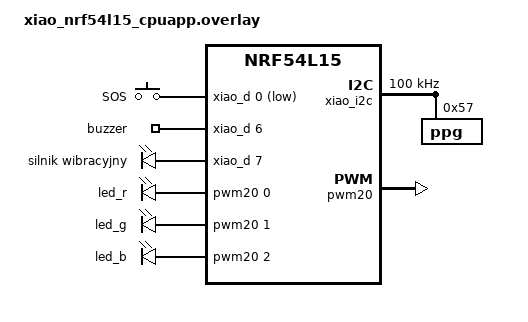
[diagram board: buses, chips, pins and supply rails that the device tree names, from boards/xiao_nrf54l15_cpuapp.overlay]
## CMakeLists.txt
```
cmake_minimum_required(VERSION 3.20.0)
find_package(Zephyr REQUIRED HINTS $ENV{ZEPHYR_BASE})
project(epi)

target_sources(app PRIVATE
  src/main.c
  src/ble_epi.c
  ../lib/epi_led.c
  ../lib/epi_battery.c
  ../lib/epi_button.c
  ../lib/epi_detector.c
)
target_include_directories(app PRIVATE ../lib)
```

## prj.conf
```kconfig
# Konfiguracja aplikacji EPI dla XIAO nRF54L15 (Sense).
# Budowane w nRF Connect SDK: west build -b xiao_nrf54l15/nrf54l15/cpuapp

CONFIG_MAIN_STACK_SIZE=2048
CONFIG_HEAP_MEM_POOL_SIZE=2048

# Sprzęt
CONFIG_GPIO=y
CONFIG_PWM=y
CONFIG_I2C=y
CONFIG_ADC=y
CONFIG_SENSOR=y
CONFIG_LSM6DSO=n
CONFIG_LSM6DSL=n
# IMU na płytce Sense: LSM6DS3TR-C. Sterownik wybierany przez devicetree,
# nazwa opcji do sprawdzenia w wersji SDK (CONFIG_LSM6DSO / CONFIG_LSM6DS3TR_C).

# Zasilanie
CONFIG_PM=y
CONFIG_PM_DEVICE=y
CONFIG_POWEROFF=y

# Bluetooth: peryferium z profilami, których szuka aplikacja
CONFIG_BT=y
CONFIG_BT_PERIPHERAL=y
CONFIG_BT_DEVICE_NAME="EPI"
CONFIG_BT_DEVICE_APPEARANCE=833
CONFIG_BT_MAX_CONN=1
CONFIG_BT_GATT_DYNAMIC_DB=n
CONFIG_BT_HRS=y
CONFIG_BT_BAS=y
CONFIG_BT_SMP=y
CONFIG_BT_BONDABLE=y
CONFIG_BT_SETTINGS=y
CONFIG_SETTINGS=y
CONFIG_NVS=y
CONFIG_FLASH=y
CONFIG_FLASH_MAP=y

# Logi tylko w kompilacji rozwojowej
CONFIG_LOG=y
CONFIG_LOG_DEFAULT_LEVEL=3
```

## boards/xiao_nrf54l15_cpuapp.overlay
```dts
/*
 * Przypisanie wyprowadzeń. Numery pinów w blokach pinctrl trzeba wpisać
 * z pinoutu płytki (plik boards/seeed/xiao_nrf54l15/*.dts w Zephyrze) —
 * zostawione tu wartości są miejscem na wpis, nie gotową konfiguracją.
 *
 * Rozkład zgodny z tabelą w hardware/README.md:
 *   D0  przycisk           D1..D3 kanały diody RGB
 *   D4  SDA, D5 SCL        D6  buzzer, D7 silnik wibracyjny
 *   D8  INT z pulsoksymetru   D9  STAT ładowarki   D10 wykrycie ładowarki
 */

/ {
    aliases {
        epi-button = &btn_sos;
        epi-buzzer = &out_buzzer;
        epi-motor  = &out_motor;
        /* Nazwa węzła IMU pochodzi z pliku płytki dla wersji Sense. */
        epi-imu    = &lsm6ds3tr_c;
    };

    buttons {
        compatible = "gpio-keys";
        btn_sos: btn_sos {
            gpios = <&xiao_d 0 (GPIO_ACTIVE_LOW | GPIO_PULL_UP)>;
            label = "SOS";
            zephyr,code = <0>;
        };
    };

    outputs {
        compatible = "gpio-leds";
        out_buzzer: out_buzzer {
            gpios = <&xiao_d 6 GPIO_ACTIVE_HIGH>;
            label = "buzzer";
        };
        out_motor: out_motor {
            gpios = <&xiao_d 7 GPIO_ACTIVE_HIGH>;
            label = "silnik wibracyjny";
        };
    };

    epi_led: epi-led {
        compatible = "pwm-leds";
        led_r: led_r { pwms = <&pwm20 0 PWM_USEC(500) PWM_POLARITY_NORMAL>; };
        led_g: led_g { pwms = <&pwm20 1 PWM_USEC(500) PWM_POLARITY_NORMAL>; };
        led_b: led_b { pwms = <&pwm20 2 PWM_USEC(500) PWM_POLARITY_NORMAL>; };
    };
};

&xiao_i2c {
    status = "okay";
    clock-frequency = <I2C_BITRATE_STANDARD>;

    /* Fermion MAX30102 (SEN0344), adres 0x57. Sterownik zależy od tego, czy
     * moduł oddaje surowe próbki, czy tylko wynik algorytmu — patrz README. */
    ppg: ppg@57 {
        reg = <0x57>;
        status = "okay";
    };

    /* Wersja Sense ma akcelerometr na płytce, więc zewnętrzny nie jest
     * potrzebny. Gdyby oba warianty sprzętu miały używać tego samego czujnika
     * co wersja na Arduino Nano, wystarczy odkomentować ten węzeł, przestawić
     * alias epi-imu na &mpu6050 i włączyć CONFIG_MPU6050 w prj.conf.
     *
     * mpu6050: mpu6050@68 {
     *     compatible = "invensense,mpu6050";
     *     reg = <0x68>;
     *     status = "okay";
     * };
     */
};

&pwm20 {
    status = "okay";
    pinctrl-0 = <&pwm20_default>;
    pinctrl-1 = <&pwm20_sleep>;
    pinctrl-names = "default", "sleep";
};
```

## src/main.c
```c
/*
 * EPI — firmware pre-prototypu na Seeed XIAO nRF54L15 (Sense).
 *
 * Warstwa sprzętowa. Cała logika rozstrzygająca (automat detekcji, dioda,
 * bateria, przycisk) siedzi w ../lib i jest testowana na komputerze —
 * tutaj zostaje odczyt czujników, PWM, wyjścia alarmu i BLE.
 *
 * Stan pliku: szkielet integracji. Kompilacja wymaga nRF Connect SDK i
 * uzupełnienia pinctrl w boards/xiao_nrf54l15_cpuapp.overlay.
 */

#include <math.h>

#include <zephyr/kernel.h>
#include <zephyr/device.h>
#include <zephyr/drivers/adc.h>
#include <zephyr/drivers/gpio.h>
#include <zephyr/drivers/pwm.h>
#include <zephyr/drivers/sensor.h>
#include <zephyr/logging/log.h>
#include <zephyr/sys/poweroff.h>
#include <zephyr/sys/reboot.h>

#include "ble_epi.h"
#include "epi_battery.h"
#include "epi_button.h"
#include "epi_detector.h"
#include "epi_led.h"

LOG_MODULE_REGISTER(epi, CONFIG_LOG_DEFAULT_LEVEL);

/* Okresy pracy. Detektor chodzi w tym samym rytmie co w aplikacji. */
#define TICK_LED_MS       10
#define TICK_DETECTOR_MS  250
#define TICK_BATTERY_MS   30000
#define IMU_HZ            52
#define SOS_WINDOW_MS     10000  /* czas na anulowanie SOS drugim kliknięciem */

static const struct pwm_dt_spec led_r = PWM_DT_SPEC_GET(DT_NODELABEL(led_r));
static const struct pwm_dt_spec led_g = PWM_DT_SPEC_GET(DT_NODELABEL(led_g));
static const struct pwm_dt_spec led_b = PWM_DT_SPEC_GET(DT_NODELABEL(led_b));

static const struct gpio_dt_spec button =
    GPIO_DT_SPEC_GET(DT_ALIAS(epi_button), gpios);
static const struct gpio_dt_spec buzzer =
    GPIO_DT_SPEC_GET(DT_ALIAS(epi_buzzer), gpios);
static const struct gpio_dt_spec motor =
    GPIO_DT_SPEC_GET(DT_ALIAS(epi_motor), gpios);

/* Alias wskazuje węzeł IMU z pliku płytki; nazwa sterownika dla
 * LSM6DS3TR-C zależy od wersji SDK, więc nie jest tu wpisana na sztywno. */
static const struct device *imu = DEVICE_DT_GET(DT_ALIAS(epi_imu));

static struct {
    epi_detector det;
    epi_button   btn;
    epi_batt     batt;
    epi_led_input led;
    uint32_t boot_ms;
    uint32_t sos_deadline_ms;
    bool     alarm_output;
} app;

static uint32_t now_ms(void)
{
    return (uint32_t)k_uptime_get_32();
}

/* --- dioda ------------------------------------------------------------- */

static void led_write(epi_rgb c)
{
    /* Wspólna anoda: wypełnienie 0 to pełna jasność, dlatego wartość jest
     * odwracana. Przy wspólnej katodzie wystarczy usunąć odejmowanie. */
    (void)pwm_set_pulse_dt(&led_r, (led_r.period * (255u - c.r)) / 255u);
    (void)pwm_set_pulse_dt(&led_g, (led_g.period * (255u - c.g)) / 255u);
    (void)pwm_set_pulse_dt(&led_b, (led_b.period * (255u - c.b)) / 255u);
}

static void led_work_fn(struct k_work *work);
static K_WORK_DELAYABLE_DEFINE(led_work, led_work_fn);

static void led_work_fn(struct k_work *work)
{
    uint32_t t = now_ms();

    ARG_UNUSED(work);
    app.led.uptime_ms = t - app.boot_ms;
    app.led.detector = app.det.state;
    led_write(epi_led_render(&app.led, t));
    k_work_reschedule(&led_work,
                      K_MSEC(epi_led_tick_ms(epi_led_mode_for(&app.led))));
}

/* --- alarm lokalny ----------------------------------------------------- */

/* Buzzer i silnik pracują impulsami: ciągła praca to około 120 mA, czyli
 * kilkanaście procent pojemności ogniwa na godzinę. */
static void alarm_output_set(bool on)
{
    if (app.alarm_output == on) {
        return;
    }
    app.alarm_output = on;
    (void)gpio_pin_set_dt(&buzzer, on ? 1 : 0);
    (void)gpio_pin_set_dt(&motor, on ? 1 : 0);
}

static void alarm_work_fn(struct k_work *work);
static K_WORK_DELAYABLE_DEFINE(alarm_work, alarm_work_fn);

static void alarm_work_fn(struct k_work *work)
{
    bool active = (app.det.state == EPI_DET_ALARM) || app.led.sos_active;

    ARG_UNUSED(work);
    if (!active) {
        alarm_output_set(false);
        return;
    }
    alarm_output_set(!app.alarm_output);
    k_work_reschedule(&alarm_work, K_MSEC(app.alarm_output ? 400 : 600));
}

/* Krótkie potwierdzenie gestu: sam silnik, bez dźwięku. */
static void haptic_blip(uint16_t ms)
{
    (void)gpio_pin_set_dt(&motor, 1);
    k_sleep(K_MSEC(ms));
    (void)gpio_pin_set_dt(&motor, 0);
}

/* --- przycisk ---------------------------------------------------------- */

static void power_off_device(void)
{
    alarm_output_set(false);
    led_write((epi_rgb){0, 0, 0});
    app.led.powered_on = false;
    app.det.state = EPI_DET_OFF;
    haptic_blip(300);

    /* Wybudzenie przyciskiem z trybu System OFF. */
    (void)gpio_pin_interrupt_configure_dt(&button, GPIO_INT_LEVEL_ACTIVE);
    sys_poweroff();
}

static void on_button_event(epi_btn_event evt, uint32_t t)
{
    switch (evt) {
    case EPI_BTN_EVT_CLICK:
        if (app.led.sos_active || app.det.state == EPI_DET_ALARM ||
            app.det.state == EPI_DET_CONFIRMING) {
            /* Drugie kliknięcie kasuje alarm albo przerywa okno potwierdzenia. */
            app.led.sos_active = false;
            epi_det_cancel(&app.det, t);
            alarm_output_set(false);
            haptic_blip(80);
        } else {
            app.led.sos_active = true;
            app.sos_deadline_ms = t + SOS_WINDOW_MS;
            haptic_blip(150);
            k_work_reschedule(&alarm_work, K_NO_WAIT);
        }
        ble_epi_notify_state(app.det.state, &app.det.an);
        break;
    case EPI_BTN_EVT_LONG:
        haptic_blip(200);
        power_off_device();
        break;
    case EPI_BTN_EVT_RESET:
        sys_reboot(SYS_REBOOT_COLD);
        break;
    default:
        break;
    }
}

static void button_work_fn(struct k_work *work);
static K_WORK_DELAYABLE_DEFINE(button_work, button_work_fn);

static void button_work_fn(struct k_work *work)
{
    uint32_t t = now_ms();
    bool pressed = gpio_pin_get_dt(&button) > 0;
    epi_btn_event evt = epi_button_update(&app.btn, pressed, t);

    ARG_UNUSED(work);
    if (evt != EPI_BTN_EVT_NONE) {
        on_button_event(evt, t);
    }
    /* Odpytywanie tylko dopóki przycisk jest w ruchu; poza tym budzi przerwanie. */
    if (pressed || app.btn.stable) {
        k_work_reschedule(&button_work, K_MSEC(10));
    }
}

static struct gpio_callback button_cb;

static void button_isr(const struct device *dev, struct gpio_callback *cb,
                       uint32_t pins)
{
    ARG_UNUSED(dev);
    ARG_UNUSED(cb);
    ARG_UNUSED(pins);
    k_work_reschedule(&button_work, K_NO_WAIT);
}

/* --- czujniki ---------------------------------------------------------- */

static void imu_work_fn(struct k_work *work);
static K_WORK_DELAYABLE_DEFINE(imu_work, imu_work_fn);

static void imu_work_fn(struct k_work *work)
{
    struct sensor_value acc[3];
    float x, y, z;

    ARG_UNUSED(work);
    if (sensor_sample_fetch(imu) == 0 &&
        sensor_channel_get(imu, SENSOR_CHAN_ACCEL_XYZ, acc) == 0) {
        x = (float)sensor_value_to_double(&acc[0]);
        y = (float)sensor_value_to_double(&acc[1]);
        z = (float)sensor_value_to_double(&acc[2]);
        /* Ten sam sygnał, który analizuje aplikacja: moduł wektora razem
         * z grawitacją; składową stałą usuwa dopiero okno analizy. */
        epi_det_push_motion(&app.det, now_ms(), sqrtf(x * x + y * y + z * z));
    }
    k_work_reschedule(&imu_work, K_MSEC(1000 / IMU_HZ));
}

/* Pulsoksymetr jest największym odbiornikiem w budżecie energii, więc
 * w stanie IDLE pracuje z małym wypełnieniem, a pełne próbkowanie włącza
 * się razem ze stanem SUSPECT. */
static void ppg_set_active(bool full_rate)
{
    ARG_UNUSED(full_rate);
    /* TODO: sterowanie modułem MAX30102 przez I2C — zależnie od tego, czy
     * używamy surowych próbek, czy wyniku algorytmu z modułu DFRobot. */
}

static void detector_work_fn(struct k_work *work);
static K_WORK_DELAYABLE_DEFINE(detector_work, detector_work_fn);

static void detector_work_fn(struct k_work *work)
{
    uint32_t t = now_ms();
    epi_det_state before = app.det.state;
    epi_det_state after;

    ARG_UNUSED(work);
    after = epi_det_tick(&app.det, t);

    if (after != before) {
        ppg_set_active(after != EPI_DET_IDLE);
        ble_epi_notify_state(after, &app.det.an);
        if (after == EPI_DET_ALARM || after == EPI_DET_CONFIRMING) {
            k_work_reschedule(&alarm_work, K_NO_WAIT);
        }
    }
    if (app.led.sos_active && t >= app.sos_deadline_ms) {
        /* Okno anulowania minęło: powiadomienie idzie do aplikacji. */
        ble_epi_notify_state(EPI_DET_ALARM, &app.det.an);
    }
    k_work_reschedule(&detector_work, K_MSEC(TICK_DETECTOR_MS));
}

/* --- bateria ----------------------------------------------------------- */

static void battery_work_fn(struct k_work *work);
static K_WORK_DELAYABLE_DEFINE(battery_work, battery_work_fn);

static void battery_work_fn(struct k_work *work)
{
    uint16_t mv;

    ARG_UNUSED(work);
    /* TODO: odczyt z ADC przez dzielnik na płytce; kanał i odniesienie
     * z overlaya, przeliczenie przez epi_batt_mv_from_adc().
     * TODO: app.led.charger_present i charge_complete z wyprowadzeń D10 i D9. */
    mv = app.batt.primed ? app.batt.mv_filtered : EPI_BATT_FULL_MV;

    app.led.soc = epi_batt_update(&app.batt, mv, app.led.charger_present);
    ble_epi_notify_battery(app.led.soc);

    if (!app.led.charger_present && mv < EPI_BATT_CUTOFF_MV) {
        LOG_WRN("napięcie ogniwa %u mV, wyłączenie", mv);
        power_off_device();
    }
    k_work_reschedule(&battery_work, K_MSEC(TICK_BATTERY_MS));
}

/* --- start ------------------------------------------------------------- */

int main(void)
{
    epi_det_cfg cfg;

    app.boot_ms = now_ms();
    app.led.powered_on = true;
    app.led.brightness = 60; /* jasność dobrana tak, żeby nie razić w nocy */

    epi_det_defaults(&cfg);
    epi_det_init(&app.det, &cfg, app.boot_ms);
    epi_button_init(&app.btn, app.boot_ms);
    epi_batt_init(&app.batt);
    app.led.soc = 100;

    if (!pwm_is_ready_dt(&led_r) || !device_is_ready(button.port) ||
        !device_is_ready(imu)) {
        LOG_ERR("brak gotowego urządzenia");
        app.led.fault = true;
    }

    (void)gpio_pin_configure_dt(&button, GPIO_INPUT);
    (void)gpio_pin_interrupt_configure_dt(&button, GPIO_INT_EDGE_BOTH);
    gpio_init_callback(&button_cb, button_isr, BIT(button.pin));
    (void)gpio_add_callback(button.port, &button_cb);

    (void)gpio_pin_configure_dt(&buzzer, GPIO_OUTPUT_INACTIVE);
    (void)gpio_pin_configure_dt(&motor, GPIO_OUTPUT_INACTIVE);

    (void)ble_epi_init();

    k_work_reschedule(&led_work, K_NO_WAIT);
    k_work_reschedule(&imu_work, K_NO_WAIT);
    k_work_reschedule(&detector_work, K_MSEC(TICK_DETECTOR_MS));
    k_work_reschedule(&battery_work, K_NO_WAIT);

    haptic_blip(120); /* potwierdzenie włączenia */
    return 0;
}
```

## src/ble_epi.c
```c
#include "ble_epi.h"

#include <zephyr/bluetooth/bluetooth.h>
#include <zephyr/bluetooth/gatt.h>
#include <zephyr/bluetooth/services/bas.h>
#include <zephyr/bluetooth/services/hrs.h>
#include <zephyr/bluetooth/uuid.h>
#include <zephyr/kernel.h>
#include <zephyr/logging/log.h>

LOG_MODULE_REGISTER(ble_epi, CONFIG_LOG_DEFAULT_LEVEL);

/* --- Pulse Oximeter Service (0x1822) ---------------------------------- */
/* Zephyr nie ma gotowej implementacji PLXS, więc charakterystyka pomiaru
 * ciągłego (0x2A5F) jest zdefiniowana tutaj. Format zgodny z tym, co dekoduje
 * aplikacja: bajt flag, potem SpO2 i tętno jako SFLOAT (IEEE 11073). */

#define BT_UUID_PLXS       BT_UUID_DECLARE_16(0x1822)
#define BT_UUID_PLX_CONT   BT_UUID_DECLARE_16(0x2A5F)

static uint8_t plx_ccc_state;

static void plx_ccc_cfg_changed(const struct bt_gatt_attr *attr, uint16_t value)
{
    ARG_UNUSED(attr);
    plx_ccc_state = (value == BT_GATT_CCC_NOTIFY) ? 1u : 0u;
}

BT_GATT_SERVICE_DEFINE(plxs_svc,
    BT_GATT_PRIMARY_SERVICE(BT_UUID_PLXS),
    BT_GATT_CHARACTERISTIC(BT_UUID_PLX_CONT, BT_GATT_CHRC_NOTIFY,
                           BT_GATT_PERM_NONE, NULL, NULL, NULL),
    BT_GATT_CCC(plx_ccc_cfg_changed, BT_GATT_PERM_READ | BT_GATT_PERM_WRITE),
);

/* Zapis liczby zmiennoprzecinkowej w formacie SFLOAT: 4 bity wykładnika,
 * 12 bitów mantysy. Mantysa mieści się w zakresie -2048..2047, więc dla
 * wartości powyżej 204,7 wykładnik przechodzi z -1 na 0 (pełne jednostki). */
static void put_sfloat(uint8_t *dst, float value)
{
    int32_t mantissa = (int32_t)(value * 10.0f + (value >= 0.0f ? 0.5f : -0.5f));
    uint16_t exponent = 0x0Fu; /* -1 */
    uint16_t raw;

    if (mantissa > 2047 || mantissa < -2048) {
        mantissa = (int32_t)(value + (value >= 0.0f ? 0.5f : -0.5f));
        exponent = 0x00u;
    }
    if (mantissa > 2047) {
        mantissa = 2047;
    }
    if (mantissa < -2048) {
        mantissa = -2048;
    }
    raw = (uint16_t)((exponent << 12) | ((uint16_t)mantissa & 0x0FFFu));
    dst[0] = (uint8_t)(raw & 0xFFu);
    dst[1] = (uint8_t)(raw >> 8);
}

void ble_epi_notify_spo2(float spo2, float pulse_rate)
{
    uint8_t buf[5];

    if (!plx_ccc_state) {
        return;
    }
    buf[0] = 0x00; /* brak pól opcjonalnych */
    put_sfloat(&buf[1], spo2);
    put_sfloat(&buf[3], pulse_rate);
    (void)bt_gatt_notify(NULL, &plxs_svc.attrs[1], buf, sizeof(buf));
}

/* --- usługa własna EPI ------------------------------------------------- */
/* Losowy identyfikator bazowy; zmiana wymaga zmiany także po stronie aplikacji.
 * 6e5a0001-b5a3-f393-e0a9-e50e24dcca9e */
#define BT_UUID_EPI_SVC_VAL \
    BT_UUID_128_ENCODE(0x6e5a0001, 0xb5a3, 0xf393, 0xe0a9, 0xe50e24dcca9e)
#define BT_UUID_EPI_STATE_VAL \
    BT_UUID_128_ENCODE(0x6e5a0002, 0xb5a3, 0xf393, 0xe0a9, 0xe50e24dcca9e)

static struct bt_uuid_128 uuid_epi_svc = BT_UUID_INIT_128(BT_UUID_EPI_SVC_VAL);
static struct bt_uuid_128 uuid_epi_state = BT_UUID_INIT_128(BT_UUID_EPI_STATE_VAL);

static uint8_t epi_ccc_state;

static void epi_ccc_cfg_changed(const struct bt_gatt_attr *attr, uint16_t value)
{
    ARG_UNUSED(attr);
    epi_ccc_state = (value == BT_GATT_CCC_NOTIFY) ? 1u : 0u;
}

BT_GATT_SERVICE_DEFINE(epi_svc,
    BT_GATT_PRIMARY_SERVICE(&uuid_epi_svc),
    BT_GATT_CHARACTERISTIC(&uuid_epi_state.uuid, BT_GATT_CHRC_NOTIFY,
                           BT_GATT_PERM_NONE, NULL, NULL, NULL),
    BT_GATT_CCC(epi_ccc_cfg_changed, BT_GATT_PERM_READ | BT_GATT_PERM_WRITE),
);

/* Ramka stanu: 1 B stan, 1 B flagi kryteriów, 2 B amplituda (setne m/s^2),
 * 2 B częstotliwość (setne Hz), 2 B nachylenie tętna (setne bpm/s). */
void ble_epi_notify_state(epi_det_state state, const epi_det_analysis *an)
{
    uint8_t buf[8];
    uint16_t amp = (uint16_t)(an->amp * 100.0f);
    uint16_t freq = (uint16_t)(an->freq * 100.0f);
    int16_t slope = (int16_t)(an->hr_slope * 100.0f);

    if (!epi_ccc_state) {
        return;
    }
    buf[0] = (uint8_t)state;
    buf[1] = (uint8_t)((an->motion_pass ? 1u : 0u) |
                       (an->hr_pass ? 2u : 0u) |
                       (an->spo2_pass ? 4u : 0u));
    buf[2] = (uint8_t)(amp & 0xFFu);
    buf[3] = (uint8_t)(amp >> 8);
    buf[4] = (uint8_t)(freq & 0xFFu);
    buf[5] = (uint8_t)(freq >> 8);
    buf[6] = (uint8_t)((uint16_t)slope & 0xFFu);
    buf[7] = (uint8_t)((uint16_t)slope >> 8);
    (void)bt_gatt_notify(NULL, &epi_svc.attrs[1], buf, sizeof(buf));
}

void ble_epi_notify_hr(uint8_t bpm)
{
    (void)bt_hrs_notify(bpm);
}

void ble_epi_notify_battery(uint8_t soc)
{
    (void)bt_bas_set_battery_level(soc);
}

/* --- rozgłaszanie ------------------------------------------------------ */

static const struct bt_data adv[] = {
    BT_DATA_BYTES(BT_DATA_FLAGS, (BT_LE_AD_GENERAL | BT_LE_AD_NO_BREDR)),
    /* Aplikacja filtruje po tych dwóch usługach, więc muszą być w rozgłoszeniu. */
    BT_DATA_BYTES(BT_DATA_UUID16_ALL, 0x0D, 0x18, 0x22, 0x18, 0x0F, 0x18),
    BT_DATA(BT_DATA_NAME_COMPLETE, CONFIG_BT_DEVICE_NAME,
            sizeof(CONFIG_BT_DEVICE_NAME) - 1),
};

int ble_epi_init(void)
{
    int err = bt_enable(NULL);

    if (err) {
        LOG_ERR("bt_enable: %d", err);
        return err;
    }
    /* Nazwa makra parametrów rozgłaszania zależy od wersji Zephyra
     * (BT_LE_ADV_CONN_FAST_2 w nowszych, BT_LE_ADV_CONN w starszych). */
    err = bt_le_adv_start(BT_LE_ADV_CONN_FAST_2, adv, ARRAY_SIZE(adv), NULL, 0);
    if (err) {
        LOG_ERR("adv_start: %d", err);
    }
    return err;
}
```

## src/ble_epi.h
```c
/*
 * Warstwa BLE. Aplikacja (aplikacja/app.js) filtruje urządzenia po usługach
 * Heart Rate (0x180D) i Pulse Oximeter (0x1822), a opcjonalnie czyta Battery
 * Service (0x180F). Te trzy usługi są więc obowiązkowe.
 *
 * Usługa własna EPI przenosi to, czego nie da się wyrazić profilami
 * standardowymi: stan automatu, zdarzenie alarmu, cechy sygnału ruchowego,
 * progi i synchronizację czasu.
 */
#ifndef BLE_EPI_H
#define BLE_EPI_H

#include <stdint.h>

#include "epi_detector.h"

int  ble_epi_init(void);
void ble_epi_notify_hr(uint8_t bpm);
void ble_epi_notify_spo2(float spo2, float pulse_rate);
void ble_epi_notify_battery(uint8_t soc);
void ble_epi_notify_state(epi_det_state state, const epi_det_analysis *an);

#endif /* BLE_EPI_H */
```
